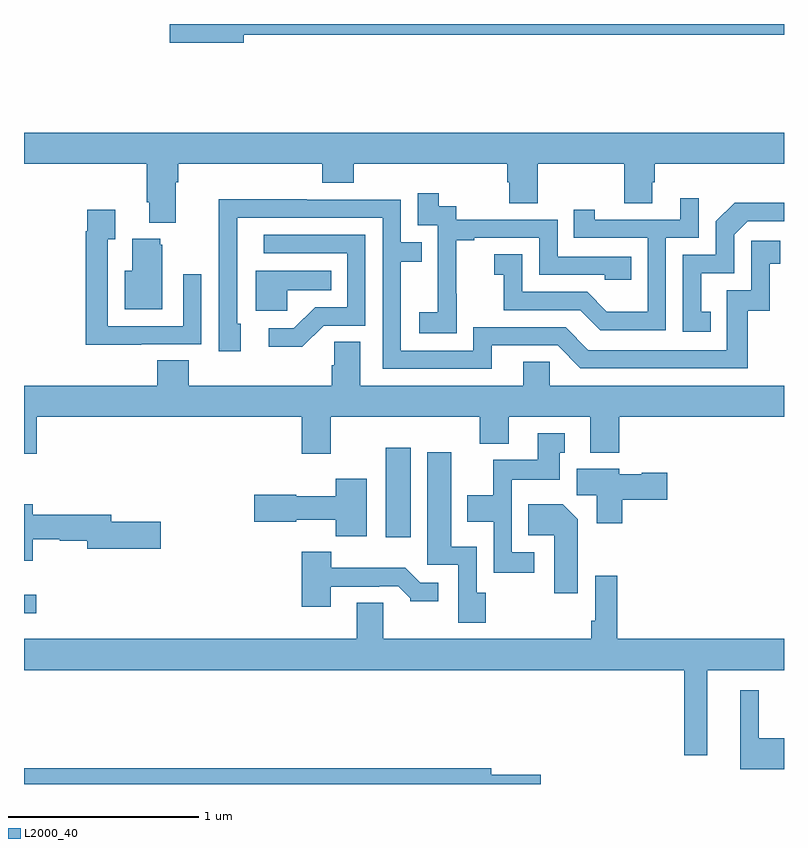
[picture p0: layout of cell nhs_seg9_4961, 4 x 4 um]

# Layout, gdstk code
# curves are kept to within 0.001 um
import gdstk
lib = gdstk.Library(unit=1e-6, precision=1e-09)
def R(c, l, rs):  # rectangles x0, y0, x1, y1
    for r in rs: c.add(gdstk.rectangle(r[:2], r[2:], *l))
def P(c, l, *ps):  # polygons
    for p in ps: c.add(gdstk.Polygon(p, *l))
L2000_40 = (2000, 40)

nhs_seg9_4961 = lib.new_cell('nhs_seg9_4961')
R(nhs_seg9_4961, L2000_40, [(399,1183.4,399.064,1183.497), (400.904,1183.8,401.035,1184.269)])
P(nhs_seg9_4961, L2000_40, [(400.156,1186.444),(403,1186.444),(403,1186.5),(399.768,1186.5),(399.768,1186.402),(400.156,1186.402)],
  [(399.799,1185.668),(399.812,1185.668),(399.812,1185.764),(400.571,1185.764),(400.571,1185.665),(400.736,1185.665),(400.736,1185.764),(401.543,1185.764),(401.543,1185.666),(401.555,1185.666),(401.555,1185.556),(401.703,1185.556),(401.703,1185.764),(402.16,1185.764),(402.16,1185.556),(402.307,1185.556),(402.307,1185.666),(402.32,1185.666),(402.32,1185.764),(403,1185.764),(403,1185.928),(399,1185.928),(399,1185.764),(399.647,1185.764),(399.647,1185.562),(399.659,1185.562),(399.659,1185.455),(399.799,1185.455)],
  [(401.277,1185.079),(401.276,1185.079),(401.276,1185.363),(401.371,1185.363),(401.371,1185.375),(401.712,1185.375),(401.712,1185.18),(402.057,1185.18),(402.057,1185.153),(402.197,1185.153),(402.197,1185.276),(401.808,1185.276),(401.808,1185.471),(401.274,1185.471),(401.274,1185.54),(401.182,1185.54),(401.182,1185.61),(401.073,1185.61),(401.073,1185.441),(401.178,1185.441),(401.178,1185.212),(401.177,1185.212),(401.177,1184.983),(401.079,1184.983),(401.079,1184.873),(401.277,1184.873)],
  [(402.378,1185.375),(402.552,1185.375),(402.552,1185.583),(402.455,1185.583),(402.455,1185.471),(402.004,1185.471),(402.004,1185.523),(401.893,1185.523),(401.893,1185.375),(402.282,1185.375),(402.282,1184.986),(402.068,1184.986),(401.964,1185.09),(401.622,1185.09),(401.622,1185.289),(401.475,1185.289),(401.475,1185.179),(401.524,1185.179),(401.524,1184.994),(401.927,1184.994),(402.032,1184.889),(402.378,1184.889)],
  [(401.461,1184.808),(401.808,1184.808),(401.928,1184.688),(402.808,1184.688),(402.808,1184.991),(402.926,1184.991),(402.926,1185.237),(402.979,1185.237),(402.979,1185.358),(402.828,1185.358),(402.828,1185.099),(402.699,1185.099),(402.699,1184.784),(401.97,1184.784),(401.85,1184.904),(401.364,1184.904),(401.364,1184.781),(400.983,1184.781),(400.983,1185.25),(401.093,1185.25),(401.093,1185.351),(400.983,1185.351),(400.983,1185.576),(400.487,1185.576),(400.487,1185.578),(400.024,1185.578),(400.024,1185.271),(400.026,1185.271),(400.026,1184.778),(400.141,1184.778),(400.141,1184.922),(400.122,1184.922),(400.123,1185.48),(400.887,1185.48),(400.887,1184.685),(401.461,1184.685)],
  [(402.614,1184.985),(402.565,1184.985),(402.565,1185.189),(402.738,1185.189),(402.738,1185.39),(402.81,1185.462),(403,1185.462),(403,1185.56),(402.74,1185.56),(402.642,1185.462),(402.642,1185.285),(402.468,1185.285),(402.468,1184.88),(402.614,1184.88)],
  [(399.617,1184.814),(399.933,1184.814),(399.933,1185.184),(399.837,1185.184),(399.837,1184.91),(399.441,1184.91),(399.441,1185.367),(399.481,1185.367),(399.481,1185.523),(399.333,1185.523),(399.333,1185.41),(399.325,1185.41),(399.325,1184.813),(399.617,1184.813)],
  [(400.578,1184.913),(400.797,1184.913),(400.797,1185.39),(400.263,1185.39),(400.263,1185.294),(400.701,1185.294),(400.701,1185.009),(400.532,1185.009),(400.421,1184.898),(400.287,1184.898),(400.287,1184.801),(400.465,1184.801)],
  [(399.727,1185.339),(399.716,1185.339),(399.716,1185.37),(399.569,1185.37),(399.569,1185.202),(399.53,1185.202),(399.53,1184.999),(399.727,1184.999)],
  [(400.386,1185.098),(400.616,1185.098),(400.616,1185.202),(400.22,1185.202),(400.22,1184.99),(400.386,1184.99)],
  [(399.068,1184.432),(400.463,1184.432),(400.463,1184.238),(400.615,1184.238),(400.615,1184.432),(401.399,1184.432),(401.399,1184.291),(401.551,1184.291),(401.551,1184.432),(401.981,1184.432),(401.981,1184.243),(402.134,1184.243),(402.134,1184.432),(403,1184.432),(403,1184.596),(401.766,1184.596),(401.766,1184.723),(401.627,1184.723),(401.627,1184.596),(400.771,1184.596),(400.771,1184.828),(400.632,1184.828),(400.632,1184.705),(400.619,1184.705),(400.619,1184.596),(399.866,1184.596),(399.866,1184.729),(399.701,1184.729),(399.701,1184.596),(399,1184.596),(399,1184.238),(399.068,1184.238)],
  [(401.686,1183.719),(401.568,1183.719),(401.568,1184.102),(401.821,1184.102),(401.821,1184.244),(401.845,1184.244),(401.845,1184.347),(401.705,1184.347),(401.705,1184.206),(401.47,1184.206),(401.47,1184.02),(401.333,1184.02),(401.333,1183.88),(401.472,1183.88),(401.472,1183.611),(401.686,1183.611)],
  [(401.43,1183.506),(401.382,1183.506),(401.382,1183.75),(401.248,1183.75),(401.248,1184.245),(401.123,1184.245),(401.123,1183.653),(401.286,1183.653),(401.286,1183.35),(401.43,1183.35)],
  [(402.149,1183.997),(402.385,1183.997),(402.385,1184.139),(402.252,1184.139),(402.252,1184.131),(402.132,1184.131),(402.132,1184.158),(401.909,1184.158),(401.909,1184.02),(402.014,1184.02),(402.014,1183.872),(402.149,1183.872)],
  [(400.804,1184.107),(400.64,1184.107),(400.64,1184.014),(400.434,1184.014),(400.434,1184.022),(400.212,1184.022),(400.212,1183.88),(400.434,1183.88),(400.434,1183.892),(400.642,1183.892),(400.642,1183.805),(400.804,1183.805)],
  [(399.046,1183.788),(399.189,1183.788),(399.189,1183.78),(399.332,1183.78),(399.332,1183.738),(399.721,1183.738),(399.721,1183.88),(399.46,1183.88),(399.46,1183.916),(399.046,1183.916),(399.046,1183.972),(399,1183.972),(399,1183.676),(399.046,1183.676)],
  [(401.914,1183.894),(401.836,1183.972),(401.653,1183.972),(401.653,1183.808),(401.792,1183.808),(401.792,1183.503),(401.914,1183.503)],
  [(400.615,1183.539),(400.871,1183.539),(400.871,1183.542),(400.97,1183.542),(401.034,1183.478),(401.034,1183.463),(401.179,1183.463),(401.179,1183.56),(401.085,1183.56),(401.007,1183.639),(400.618,1183.639),(400.618,1183.723),(400.463,1183.723),(400.463,1183.434),(400.615,1183.434)],
  [(402.595,1183.1),(403,1183.1),(403,1183.264),(402.122,1183.264),(402.122,1183.597),(402.006,1183.597),(402.006,1183.36),(401.986,1183.36),(401.986,1183.264),(400.891,1183.264),(400.891,1183.454),(400.751,1183.454),(400.751,1183.264),(399,1183.264),(399,1183.1),(402.474,1183.1),(402.474,1182.651),(402.595,1182.651)],
  [(403,1182.742),(402.868,1182.742),(402.868,1182.994),(402.77,1182.994),(402.77,1182.578),(403,1182.578)],
  [(401.719,1182.548),(401.458,1182.548),(401.458,1182.584),(399,1182.584),(399,1182.5),(401.719,1182.5)])

lib.write_gds('nhs_seg9_4961.gds')
